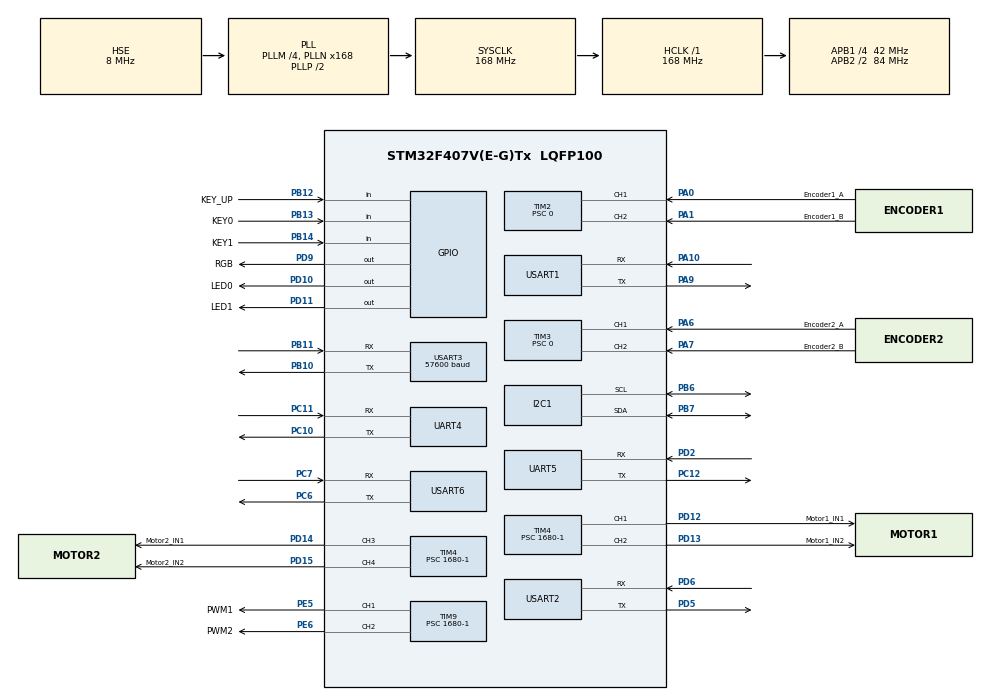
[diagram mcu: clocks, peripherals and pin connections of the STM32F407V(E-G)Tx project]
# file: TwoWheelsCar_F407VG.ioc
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Dma.Request0=USART1_RX
Dma.Request1=USART1_TX
Dma.Request2=USART2_RX
Dma.Request3=USART2_TX
Dma.USART1_RX.0.Direction=DMA_PERIPH_TO_MEMORY
Dma.USART1_RX.0.FIFOMode=DMA_FIFOMODE_DISABLE
Dma.USART1_RX.0.Instance=DMA2_Stream2
Dma.USART1_RX.0.MemDataAlignment=DMA_MDATAALIGN_BYTE
Dma.USART1_RX.0.MemInc=DMA_MINC_ENABLE
Dma.USART1_RX.0.Mode=DMA_NORMAL
Dma.USART1_RX.0.PeriphDataAlignment=DMA_PDATAALIGN_BYTE
Dma.USART1_RX.0.PeriphInc=DMA_PINC_DISABLE
Dma.USART1_RX.0.Priority=DMA_PRIORITY_MEDIUM
Dma.USART1_TX.1.Direction=DMA_MEMORY_TO_PERIPH
Dma.USART1_TX.1.FIFOMode=DMA_FIFOMODE_DISABLE
Dma.USART1_TX.1.Instance=DMA2_Stream7
Dma.USART1_TX.1.MemDataAlignment=DMA_MDATAALIGN_BYTE
Dma.USART1_TX.1.MemInc=DMA_MINC_ENABLE
Dma.USART1_TX.1.Mode=DMA_NORMAL
Dma.USART1_TX.1.PeriphDataAlignment=DMA_PDATAALIGN_BYTE
Dma.USART1_TX.1.PeriphInc=DMA_PINC_DISABLE
Dma.USART1_TX.1.Priority=DMA_PRIORITY_MEDIUM
Dma.USART2_RX.2.Direction=DMA_PERIPH_TO_MEMORY
Dma.USART2_RX.2.FIFOMode=DMA_FIFOMODE_DISABLE
Dma.USART2_RX.2.Instance=DMA1_Stream5
Dma.USART2_RX.2.MemDataAlignment=DMA_MDATAALIGN_BYTE
Dma.USART2_RX.2.MemInc=DMA_MINC_ENABLE
Dma.USART2_RX.2.Mode=DMA_NORMAL
Dma.USART2_RX.2.PeriphDataAlignment=DMA_PDATAALIGN_BYTE
Dma.USART2_RX.2.PeriphInc=DMA_PINC_DISABLE
Dma.USART2_RX.2.Priority=DMA_PRIORITY_HIGH
Dma.USART2_TX.3.Direction=DMA_MEMORY_TO_PERIPH
Dma.USART2_TX.3.FIFOMode=DMA_FIFOMODE_DISABLE
Dma.USART2_TX.3.Instance=DMA1_Stream6
Dma.USART2_TX.3.MemDataAlignment=DMA_MDATAALIGN_BYTE
Dma.USART2_TX.3.MemInc=DMA_MINC_ENABLE
Dma.USART2_TX.3.Mode=DMA_NORMAL
Dma.USART2_TX.3.PeriphDataAlignment=DMA_PDATAALIGN_BYTE
Dma.USART2_TX.3.PeriphInc=DMA_PINC_DISABLE
Dma.USART2_TX.3.Priority=DMA_PRIORITY_HIGH
FREERTOS.Tasks01=defaultTask,-3,128,StartDefaultTask,Default,NULL,Dynamic,NULL,NULL;KeyTask,-1,128,StartKeyTask,Default,NULL,Dynamic,NULL,NULL;GetEventTask,-1,128,StartGetEventTask,Default,NULL,Dynamic,NULL,NULL;ControlTask,2,512,StartControlTask,Default,NULL,Dynamic,NULL,NULL;SendTask,-2,512,StartSendTask,Default,NULL,Dynamic,NULL,NULL;AnalysisTask,1,512,StartAnalysisTask,Default,NULL,Dynamic,NULL,NULL
FREERTOS.Timers01=MyTimer1,MyTimer1_Callback,osTimerPeriodic,Default,NULL,Dynamic,NULL;MyTimer2,MyTimer2_Callback2,osTimerPeriodic,Default,NULL,Dynamic,NULL
FREERTOS.configMAX_PRIORITIES=32
FREERTOS.configMAX_TASK_NAME_LEN=20
FREERTOS.configUSE_NEWLIB_REENTRANT=1
FREERTOS.configUSE_TIMERS=1
Mcu.Family=STM32F4
Mcu.Name=STM32F407V(E-G)Tx
Mcu.Package=LQFP100
NVIC.DMA1_Stream5_IRQn=true\:5\:0\:false\:false\:true\:true\:false\:true\:true
NVIC.DMA1_Stream6_IRQn=true\:5\:0\:false\:false\:true\:true\:false\:true\:true
NVIC.DMA2_Stream2_IRQn=true\:5\:0\:true\:false\:true\:true\:false\:true\:true
NVIC.DMA2_Stream7_IRQn=true\:5\:0\:true\:false\:true\:true\:false\:true\:true
NVIC.PriorityGroup=NVIC_PRIORITYGROUP_4
NVIC.TIM1_UP_TIM10_IRQn=true\:15\:0\:false\:false\:true\:false\:false\:true\:true
NVIC.TimeBase=TIM1_UP_TIM10_IRQn
NVIC.TimeBaseIP=TIM1
NVIC.USART1_IRQn=true\:10\:0\:true\:false\:true\:true\:true\:true\:true
NVIC.USART2_IRQn=true\:5\:0\:true\:false\:true\:true\:true\:true\:true
NVIC.USART3_IRQn=true\:5\:0\:true\:false\:true\:true\:true\:true\:true
PA0-WKUP.GPIO_Label=Encoder1_A
PA0-WKUP.Signal=S_TIM2_CH1_ETR
PA1.GPIO_Label=Encoder1_B
PA1.Signal=S_TIM2_CH2
PA10.Mode=Asynchronous
PA10.Signal=USART1_RX
PA13.Mode=Serial_Wire
PA13.Signal=SYS_JTMS-SWDIO
PA14.Mode=Serial_Wire
PA14.Signal=SYS_JTCK-SWCLK
PA6.GPIO_Label=Encoder2_A
PA6.Signal=S_TIM3_CH1
PA7.GPIO_Label=Encoder2_B
PA7.Signal=S_TIM3_CH2
PA9.Mode=Asynchronous
PA9.Signal=USART1_TX
PB10.Mode=Asynchronous
PB10.Signal=USART3_TX
PB11.Mode=Asynchronous
PB11.Signal=USART3_RX
PB12.GPIO_Label=KEY_UP
PB12.GPIO_PuPd=GPIO_PULLDOWN
PB12.Signal=GPIO_Input
PB13.GPIO_Label=KEY0
PB13.GPIO_PuPd=GPIO_PULLUP
PB13.Signal=GPIO_Input
PB14.GPIO_Label=KEY1
PB14.GPIO_PuPd=GPIO_PULLUP
PB14.Signal=GPIO_Input
PB6.Mode=I2C
PB6.Signal=I2C1_SCL
PB7.Mode=I2C
PB7.Signal=I2C1_SDA
PC10.Mode=Asynchronous
PC10.Signal=UART4_TX
PC11.Mode=Asynchronous
PC11.Signal=UART4_RX
PC12.Mode=Asynchronous
PC12.Signal=UART5_TX
PC6.Mode=Asynchronous
PC6.Signal=USART6_TX
PC7.Mode=Asynchronous
PC7.Signal=USART6_RX
PD10.GPIO_Label=LED0
PD10.PinState=GPIO_PIN_SET
PD10.Signal=GPIO_Output
PD11.GPIO_Label=LED1
PD11.PinState=GPIO_PIN_SET
PD11.Signal=GPIO_Output
PD12.GPIO_Label=Motor1_IN1
PD12.Signal=S_TIM4_CH1
PD13.GPIO_Label=Motor1_IN2
PD13.Signal=S_TIM4_CH2
PD14.GPIO_Label=Motor2_IN1
PD14.Signal=S_TIM4_CH3
PD15.GPIO_Label=Motor2_IN2
PD15.Signal=S_TIM4_CH4
PD2.Mode=Asynchronous
PD2.Signal=UART5_RX
PD5.GPIO_ModeDefaultPP=GPIO_MODE_AF_PP
PD5.GPIO_PuPd=GPIO_NOPULL
PD5.GPIO_Speed=GPIO_SPEED_FREQ_VERY_HIGH
PD5.Mode=Asynchronous
PD5.Signal=USART2_TX
PD6.GPIO_ModeDefaultPP=GPIO_MODE_AF_PP
PD6.GPIO_PuPd=GPIO_NOPULL
PD6.GPIO_Speed=GPIO_SPEED_FREQ_VERY_HIGH
PD6.Mode=Asynchronous
PD6.Signal=USART2_RX
PD9.GPIO_Label=RGB
PD9.Signal=GPIO_Output
PE5.GPIO_Label=PWM1
PE5.Signal=S_TIM9_CH1
PE6.GPIO_Label=PWM2
PE6.Signal=S_TIM9_CH2
PH0-OSC_IN.Mode=HSE-External-Oscillator
PH0-OSC_IN.Signal=RCC_OSC_IN
PH1-OSC_OUT.Mode=HSE-External-Oscillator
PH1-OSC_OUT.Signal=RCC_OSC_OUT
ProjectManager.HeapSize=0x200
ProjectManager.StackSize=0x800
ProjectManager.TargetToolchain=STM32CubeIDE
RCC.48MHZClocksFreq_Value=84000000
RCC.AHBFreq_Value=168000000
RCC.APB1CLKDivider=RCC_HCLK_DIV4
RCC.APB1Freq_Value=42000000
RCC.APB1TimFreq_Value=84000000
RCC.APB2CLKDivider=RCC_HCLK_DIV2
RCC.APB2Freq_Value=84000000
RCC.APB2TimFreq_Value=168000000
RCC.CortexFreq_Value=168000000
RCC.HCLKFreq_Value=168000000
RCC.HSE_VALUE=8000000
RCC.HSI_VALUE=16000000
RCC.LSE_VALUE=32768
RCC.PLLM=4
RCC.PLLN=168
RCC.PLLSourceVirtual=RCC_PLLSOURCE_HSE
RCC.SYSCLKFreq_VALUE=168000000
RCC.SYSCLKSource=RCC_SYSCLKSOURCE_PLLCLK
RCC.VCOOutputFreq_Value=336000000
SH.S_TIM2_CH1_ETR.0=TIM2_CH1,Encoder_Interface
SH.S_TIM2_CH2.0=TIM2_CH2,Encoder_Interface
SH.S_TIM3_CH1.0=TIM3_CH1,Encoder_Interface
SH.S_TIM3_CH2.0=TIM3_CH2,Encoder_Interface
SH.S_TIM4_CH1.0=TIM4_CH1,PWM Generation1 CH1
SH.S_TIM4_CH2.0=TIM4_CH2,PWM Generation2 CH2
SH.S_TIM4_CH3.0=TIM4_CH3,PWM Generation3 CH3
SH.S_TIM4_CH4.0=TIM4_CH4,PWM Generation4 CH4
SH.S_TIM9_CH1.0=TIM9_CH1,Output Compare1 CH1
SH.S_TIM9_CH2.0=TIM9_CH2,Output Compare2 CH2
TIM2.EncoderMode=TIM_ENCODERMODE_TI12
TIM2.Period=65535
TIM2.Prescaler=0
TIM3.EncoderMode=TIM_ENCODERMODE_TI12
TIM3.Period=65535
TIM3.Prescaler=0
TIM4.AutoReloadPreload=TIM_AUTORELOAD_PRELOAD_ENABLE
TIM4.Channel-PWM\ Generation1\ CH1=TIM_CHANNEL_1
TIM4.Channel-PWM\ Generation2\ CH2=TIM_CHANNEL_2
TIM4.Channel-PWM\ Generation3\ CH3=TIM_CHANNEL_3
TIM4.Channel-PWM\ Generation4\ CH4=TIM_CHANNEL_4
TIM4.OCPolarity_1=TIM_OCPOLARITY_HIGH
TIM4.OCPolarity_2=TIM_OCPOLARITY_HIGH
TIM4.OCPolarity_3=TIM_OCPOLARITY_HIGH
TIM4.OCPolarity_4=TIM_OCPOLARITY_HIGH
TIM4.Period=5000-1
TIM4.Prescaler=1680-1
TIM9.Channel-Output\ Compare1\ CH1=TIM_CHANNEL_1
TIM9.Channel-Output\ Compare2\ CH2=TIM_CHANNEL_2
TIM9.Period=5000-1
TIM9.Prescaler=1680-1
UART4.VirtualMode=Asynchronous
UART5.VirtualMode=Asynchronous
USART1.VirtualMode=VM_ASYNC
USART2.VirtualMode=VM_ASYNC
USART3.BaudRate=57600
USART3.VirtualMode=VM_ASYNC
USART6.VirtualMode=VM_ASYNC
VP_FREERTOS_VS_CMSIS_V1.Mode=CMSIS_V1
VP_SYS_VS_tim1.Mode=TIM1
VP_TIM4_VS_ClockSourceINT.Mode=Internal
VP_TIM9_VS_ClockSourceINT.Mode=Internal
board=custom

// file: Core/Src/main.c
/* USER CODE BEGIN Header */
/**
  ******************************************************************************
  * @file           : main.c
  * @brief          : Main program body
  ******************************************************************************
  * @attention
  *
  * Copyright (c) 2024 STMicroelectronics.
  * All rights reserved.
  *
  * This software is licensed under terms that can be found in the LICENSE file
  * in the root directory of this software component.
  * If no LICENSE file comes with this software, it is provided AS-IS.
  *
  ******************************************************************************
  */
/* USER CODE END Header */
#include "main.h"
#include "cmsis_os.h"
#include "dma.h"
#include "i2c.h"
#include "tim.h"
#include "usart.h"
#include "gpio.h"

/* USER CODE BEGIN Includes */
#include "mypid.h"
#include "motor.h"
#include "myuart.h"
/* USER CODE END Includes */

void SystemClock_Config(void);
void MX_FREERTOS_Init(void);

int main(void)
{

  /* MCU Configuration--------------------------------------------------------*/

  /* Reset of all peripherals, Initializes the Flash interface and the Systick. */
  HAL_Init();

  /* Configure the system clock */
  SystemClock_Config();

  /* Initialize all configured peripherals */
  MX_GPIO_Init();
  MX_DMA_Init();
  MX_TIM3_Init();
  MX_TIM4_Init();
  MX_USART1_UART_Init();
  MX_USART2_UART_Init();
  MX_USART3_UART_Init();
  MX_TIM2_Init();
  MX_UART4_Init();
  MX_UART5_Init();
  MX_I2C1_Init();
  MX_TIM9_Init();
  MX_USART6_UART_Init();
  /* USER CODE BEGIN 2 */
  /* motor */
  HAL_TIM_PWM_Start(&htim4, TIM_CHANNEL_1);
  HAL_TIM_PWM_Start(&htim4, TIM_CHANNEL_2);
  HAL_TIM_PWM_Start(&htim4, TIM_CHANNEL_3);
  HAL_TIM_PWM_Start(&htim4, TIM_CHANNEL_4);

  /* encoder */
  HAL_TIM_Encoder_Start(&htim2, TIM_CHANNEL_ALL);
  TIM2->CNT = 0x5fff;
  HAL_TIM_Encoder_Start(&htim3, TIM_CHANNEL_ALL);
  TIM3->CNT = 0x5fff;

  /* PID */
  SpeedPid_Init(&RightSpeedPid, 0, 5, 1.5, 1);
  SpeedPid_Init(&LeftSpeedPid, 0, 5, 1.5, 1);

//  SpeedPid_Init(&LeftSpeedPid, 0, 0.1, 0, 1); // 增量�?

  /* USER CODE END 2 */

  /* Call init function for freertos objects (in cmsis_os2.c) */
  MX_FREERTOS_Init();

  /* Start scheduler */
  osKernelStart();

  /* We should never get here as control is now taken by the scheduler */

  /* Infinite loop */
  while (1)
  {

  }
}

void SystemClock_Config(void)
{
  RCC_OscInitTypeDef RCC_OscInitStruct = {0};
  RCC_ClkInitTypeDef RCC_ClkInitStruct = {0};

  /** Configure the main internal regulator output voltage
  */
  __HAL_RCC_PWR_CLK_ENABLE();
  __HAL_PWR_VOLTAGESCALING_CONFIG(PWR_REGULATOR_VOLTAGE_SCALE1);

  /** Initializes the RCC Oscillators according to the specified parameters
  * in the RCC_OscInitTypeDef structure.
  */
  RCC_OscInitStruct.OscillatorType = RCC_OSCILLATORTYPE_HSE;
  RCC_OscInitStruct.HSEState = RCC_HSE_ON;
  RCC_OscInitStruct.PLL.PLLState = RCC_PLL_ON;
  RCC_OscInitStruct.PLL.PLLSource = RCC_PLLSOURCE_HSE;
  RCC_OscInitStruct.PLL.PLLM = 4;
  RCC_OscInitStruct.PLL.PLLN = 168;
  RCC_OscInitStruct.PLL.PLLP = RCC_PLLP_DIV2;
  RCC_OscInitStruct.PLL.PLLQ = 4;
  if (HAL_RCC_OscConfig(&RCC_OscInitStruct) != HAL_OK)
  {
    Error_Handler();
  }

  /** Initializes the CPU, AHB and APB buses clocks
  */
  RCC_ClkInitStruct.ClockType = RCC_CLOCKTYPE_HCLK|RCC_CLOCKTYPE_SYSCLK
                              |RCC_CLOCKTYPE_PCLK1|RCC_CLOCKTYPE_PCLK2;
  RCC_ClkInitStruct.SYSCLKSource = RCC_SYSCLKSOURCE_PLLCLK;
  RCC_ClkInitStruct.AHBCLKDivider = RCC_SYSCLK_DIV1;
  RCC_ClkInitStruct.APB1CLKDivider = RCC_HCLK_DIV4;
  RCC_ClkInitStruct.APB2CLKDivider = RCC_HCLK_DIV2;

  if (HAL_RCC_ClockConfig(&RCC_ClkInitStruct, FLASH_LATENCY_5) != HAL_OK)
  {
    Error_Handler();
  }
}

void HAL_TIM_PeriodElapsedCallback(TIM_HandleTypeDef *htim)
{
  if (htim->Instance == TIM1) {
    HAL_IncTick();
  }
}

void Error_Handler(void)
{
  __disable_irq();
  while (1)
  {
  }
}

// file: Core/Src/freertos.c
/* USER CODE BEGIN Header */
/**
  ******************************************************************************
  * File Name          : freertos.c
  * Description        : Code for freertos applications
  ******************************************************************************
  * @attention
  *
  * Copyright (c) 2024 STMicroelectronics.
  * All rights reserved.
  *
  * This software is licensed under terms that can be found in the LICENSE file
  * in the root directory of this software component.
  * If no LICENSE file comes with this software, it is provided AS-IS.
  *
  ******************************************************************************
  */
/* USER CODE END Header */

#include "FreeRTOS.h"
#include "task.h"
#include "main.h"
#include "cmsis_os.h"

/* USER CODE BEGIN Includes */
#include "usart.h"
#include "motor.h"
#include "encoder.h"
#include "myuart.h"
#include "mypid.h"
#include "myrgb.h"
/* USER CODE END Includes */

/* USER CODE BEGIN PD */

// 创建按键事件标志
#define Event_Key0 (0x01<<0)
#define Event_Key1 (0x01<<1)
#define Event_KeyUp (0x01<<2)

/* USER CODE END PD */

/* USER CODE BEGIN Variables */
EventGroupHandle_t Event_Key_Handle = NULL;
/* USER CODE END Variables */
osThreadId defaultTaskHandle;
osThreadId KeyTaskHandle;
osThreadId GetEventTaskHandle;
osThreadId ControlTaskHandle;
osThreadId SendTaskHandle;
osThreadId AnalysisTaskHandle;
osTimerId MyTimer1Handle;
osTimerId MyTimer2Handle;

void StartDefaultTask(void const * argument);
void StartKeyTask(void const * argument);
void StartGetEventTask(void const * argument);
void StartControlTask(void const * argument);
void StartSendTask(void const * argument);
void StartAnalysisTask(void const * argument);
void MyTimer1_Callback(void const * argument);
void MyTimer2_Callback2(void const * argument);

void MX_FREERTOS_Init(void); /* (MISRA C 2004 rule 8.1) */

/* GetIdleTaskMemory prototype (linked to static allocation support) */
void vApplicationGetIdleTaskMemory( StaticTask_t **ppxIdleTaskTCBBuffer, StackType_t **ppxIdleTaskStackBuffer, uint32_t *pulIdleTaskStackSize );

/* GetTimerTaskMemory prototype (linked to static allocation support) */
void vApplicationGetTimerTaskMemory( StaticTask_t **ppxTimerTaskTCBBuffer, StackType_t **ppxTimerTaskStackBuffer, uint32_t *pulTimerTaskStackSize );

/* USER CODE BEGIN GET_IDLE_TASK_MEMORY */
static StaticTask_t xIdleTaskTCBBuffer;
static StackType_t xIdleStack[configMINIMAL_STACK_SIZE];

void vApplicationGetIdleTaskMemory( StaticTask_t **ppxIdleTaskTCBBuffer, StackType_t **ppxIdleTaskStackBuffer, uint32_t *pulIdleTaskStackSize )
{
  *ppxIdleTaskTCBBuffer = &xIdleTaskTCBBuffer;
  *ppxIdleTaskStackBuffer = &xIdleStack[0];
  *pulIdleTaskStackSize = configMINIMAL_STACK_SIZE;
  /* place for user code */
}
/* USER CODE END GET_IDLE_TASK_MEMORY */

/* USER CODE BEGIN GET_TIMER_TASK_MEMORY */
static StaticTask_t xTimerTaskTCBBuffer;
static StackType_t xTimerStack[configTIMER_TASK_STACK_DEPTH];

void vApplicationGetTimerTaskMemory( StaticTask_t **ppxTimerTaskTCBBuffer, StackType_t **ppxTimerTaskStackBuffer, uint32_t *pulTimerTaskStackSize )
{
  *ppxTimerTaskTCBBuffer = &xTimerTaskTCBBuffer;
  *ppxTimerTaskStackBuffer = &xTimerStack[0];
  *pulTimerTaskStackSize = configTIMER_TASK_STACK_DEPTH;
  /* place for user code */
}
/* USER CODE END GET_TIMER_TASK_MEMORY */

void MX_FREERTOS_Init(void) {
  /* USER CODE BEGIN Init */
  Event_Key_Handle = xEventGroupCreate();
  /* USER CODE END Init */

  /* Create the timer(s) */
  /* definition and creation of MyTimer1 */
  osTimerDef(MyTimer1, MyTimer1_Callback);
  MyTimer1Handle = osTimerCreate(osTimer(MyTimer1), osTimerPeriodic, NULL);

  /* definition and creation of MyTimer2 */
  osTimerDef(MyTimer2, MyTimer2_Callback2);
  MyTimer2Handle = osTimerCreate(osTimer(MyTimer2), osTimerPeriodic, NULL);

  /* USER CODE BEGIN RTOS_TIMERS */
  osTimerStart(MyTimer1Handle, 1000);
  osTimerStart(MyTimer2Handle, 50);
  /* start timers, add new ones, ... */
  /* USER CODE END RTOS_TIMERS */

  /* Create the thread(s) */
  /* definition and creation of defaultTask */
  osThreadDef(defaultTask, StartDefaultTask, osPriorityIdle, 0, 128);
  defaultTaskHandle = osThreadCreate(osThread(defaultTask), NULL);

  /* definition and creation of KeyTask */
  osThreadDef(KeyTask, StartKeyTask, osPriorityBelowNormal, 0, 128);
  KeyTaskHandle = osThreadCreate(osThread(KeyTask), NULL);

  /* definition and creation of GetEventTask */
  osThreadDef(GetEventTask, StartGetEventTask, osPriorityBelowNormal, 0, 128);
  GetEventTaskHandle = osThreadCreate(osThread(GetEventTask), NULL);

  /* definition and creation of ControlTask */
  osThreadDef(ControlTask, StartControlTask, osPriorityHigh, 0, 512);
  ControlTaskHandle = osThreadCreate(osThread(ControlTask), NULL);

  /* definition and creation of SendTask */
  osThreadDef(SendTask, StartSendTask, osPriorityLow, 0, 512);
  SendTaskHandle = osThreadCreate(osThread(SendTask), NULL);

  /* definition and creation of AnalysisTask */
  osThreadDef(AnalysisTask, StartAnalysisTask, osPriorityAboveNormal, 0, 512);
  AnalysisTaskHandle = osThreadCreate(osThread(AnalysisTask), NULL);

}

void StartDefaultTask(void const * argument)
{
  for(;;)
  {
    osDelay(1);
  }
}

void StartKeyTask(void const * argument)
{
  /* USER CODE BEGIN StartKeyTask */
  /* Infinite loop */
  for(;;)
  {
    osDelay(50);
//    HAL_UART_Transmit_DMA(&huart2, "abc\n", 4);
    if(HAL_GPIO_ReadPin(KEY0_GPIO_Port, KEY0_Pin) == 0){
        xEventGroupSetBits(Event_Key_Handle, Event_Key0);
    }
    else if(HAL_GPIO_ReadPin(KEY1_GPIO_Port, KEY1_Pin) == 0){
        xEventGroupSetBits(Event_Key_Handle, Event_Key1);
    }
    else if(HAL_GPIO_ReadPin(KEY_UP_GPIO_Port, KEY_UP_Pin) == 1){
        xEventGroupSetBits(Event_Key_Handle, Event_KeyUp);
    }

  }
  /* USER CODE END StartKeyTask */
}

void StartGetEventTask(void const * argument)
{
  /* USER CODE BEGIN StartGetEventTask */
  EventBits_t myEventBits_1;
  /* Infinite loop */
  for(;;)
  {
      myEventBits_1 = xEventGroupWaitBits(Event_Key_Handle, Event_Key0|Event_Key1|Event_KeyUp, pdTRUE, pdFALSE, portMAX_DELAY);
      if(myEventBits_1 == Event_Key0){
//          Back_Slow(RightWheel, 500);
//          Forward_Slow(RightWheel, 1000);
          RightSpeedPid.Sv = 400;
          LeftSpeedPid.Sv = -200;

          HAL_GPIO_WritePin(LED0_GPIO_Port, LED0_Pin, GPIO_PIN_RESET);
      }
      else if(myEventBits_1 == Event_Key1){
//          Back(1000);
          HAL_GPIO_WritePin(LED1_GPIO_Port, LED1_Pin, GPIO_PIN_RESET);
      }
      else if(myEventBits_1 == Event_KeyUp){
          Stop();
          HAL_GPIO_WritePin(GPIOD, LED0_Pin|LED1_Pin, GPIO_PIN_SET);
      }
    osDelay(50);
  }
  /* USER CODE END StartGetEventTask */
}

void StartControlTask(void const * argument)
{
  /* USER CODE BEGIN StartControlTask */
  /* Infinite loop */
  for(;;)
  {
      MY_ROBOT_Kinematics();
      osDelay(20);
  }
  /* USER CODE END StartControlTask */
}

void StartSendTask(void const * argument)
{
  /* USER CODE BEGIN StartSendTask */
  /* Infinite loop */
  for(;;)
  {
//    mydebug_send_motor(RightSpeedPid.Pv, RightSpeedPid.SEk, 0xF1);    // m/s -> mm/s 上传上位�????????????
//      mydebug_send_motor(R_Vel.TG_IX, R_Vel.TG_IW, 0xF1);

      ROBOT_SendDataToRos();
//    mydebug_send_motor(LeftSpeedPid.Pv, LeftSpeedPid.Out, 0xF2);    // m/s -> mm/s 上传上位�????????????
    osDelay(20);
  }
  /* USER CODE END StartSendTask */
}

void StartAnalysisTask(void const * argument)
{
  /* USER CODE BEGIN StartAnalysisTask */
  /* Infinite loop */
  for(;;)
  {
//      Uart2_Str.Analysis_function();
    osDelay(20);
  }
  /* USER CODE END StartAnalysisTask */
}

/* MyTimer1_Callback function */
void MyTimer1_Callback(void const * argument)
{
  /* USER CODE BEGIN MyTimer1_Callback */
  HAL_GPIO_TogglePin(LED0_GPIO_Port, LED0_Pin);
  /* USER CODE END MyTimer1_Callback */
}

/* MyTimer2_Callback2 function */
void MyTimer2_Callback2(void const * argument)
{
}
